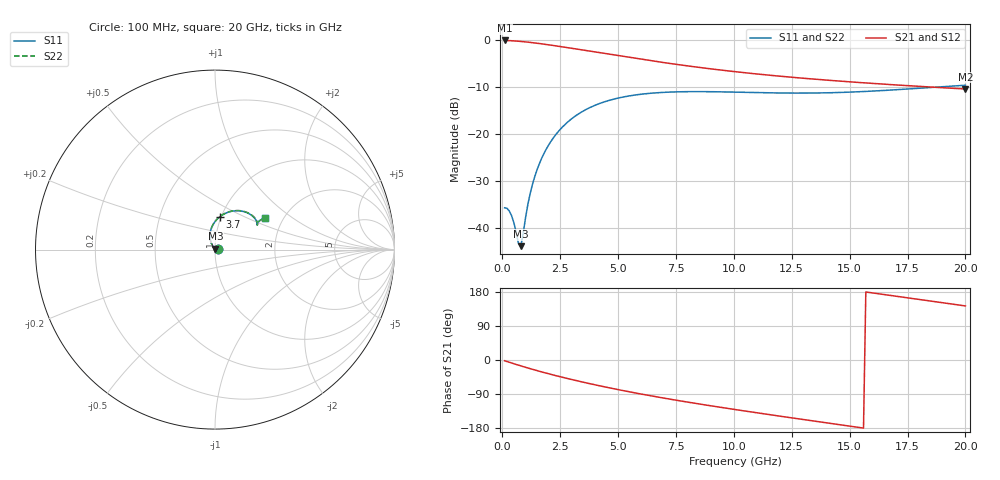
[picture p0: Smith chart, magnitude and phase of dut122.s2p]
! Touchstone file exported from HFSS 2024.1.0
!  File:  C:/UserFiles/LocalFiles/RDL_TSV_Batchsim/temp_RDL_TSV_122_1779425137.aedt
!  Generated:  01:00:07 PM May 22, 2026
!  Design:  RDL_TSV
!  Project:  temp_RDL_TSV_122_1779425137
!  Setup:  Setup1
!  Solution:  Sweep
! Variables:
!  dtsv = 10.31um
!  hbump = 3um
!  htsv = 87.14um
!  ldown = 378.98um
!  lrdl = 456.69um
!  p = 40
!  p1 = 56.4um
!  rhole = 10um
!  subl = 2963.7um
!  t = 450um
!  tdown = 2.44um
!  trdl = 3.48um
!  viad = 10um
!  wdown = 19.25um
!  wrdl = 25.24um
!  xbump = 18um
# GHz S MA R 50.000000
! Terminal data exported
! Port[1] = TM1_1_T1
! Port[2] = TM1_4_T1
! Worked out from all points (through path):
!   200 points, 100 MHz to 20 GHz, reference 50 ohm
!   highest |S21| = -0.15 dB at 100 MHz (marker M1); lowest = -10.5 dB at 20 GHz (marker M2)
!   group delay of S21, straight-line fit = 28.3 ps
!   lowest |S11| = -43.8 dB at 800 MHz (marker M3), VSWR 1.01, Z = 50.2 + j0.604 ohm
!   |S11| at or under -10 dB: start of sweep to 18.9 GHz
!   |S22| runs from -43.8 to -9.6 dB; largest |S21 - S12| = 1.1e-14
!   S11 on the Smith chart (normalised r, x): 100 MHz: 1.03, +0.00; 3.7 GHz: 0.99, +0.38; 20 GHz: 1.62, +0.64
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0.1  0.0165 2.1  0.9829 -2.0  0.9829 -2.0  0.0165 2.1
! Gamma 0 0 0 0
! Port Impedance 50 0 50 0
0.3  0.01528 2.5  0.9789 -6.0  0.9789 -6.0  0.01527 2.5
0.4  0.01362 3.6  0.976 -7.9  0.976 -7.9  0.0136 3.7
0.5  0.01144 7.2  0.9727 -9.9  0.9727 -9.9  0.01141 7.2
0.7  0.006881 35.1  0.9647 -13.7  0.9647 -13.7  0.006852 35.5
0.8  0.006453 68.8  0.96 -15.5  0.96 -15.5  0.006461 69.4
1.1  0.01765 117.6  0.9439 -21.0  0.9439 -21.0  0.01778 117.8
1.2  0.02313 120.1  0.9379 -22.8  0.9379 -22.8  0.02328 120.3
1.4  0.03521 120.5  0.9252 -26.3  0.9252 -26.3  0.03542 120.7
1.7  0.05517 116.8  0.9049 -31.4  0.9049 -31.4  0.05547 116.9
2.1  0.08343 109.7  0.8766 -37.9  0.8766 -37.9  0.08385 109.7
2.5  0.1118 102.0  0.8477 -44.1  0.8477 -44.1  0.1124 102.1
3  0.1454 92.8  0.8119 -51.6  0.8119 -51.6  0.1461 92.9
3.5  0.1755 84.4  0.7767 -58.6  0.7767 -58.6  0.1764 84.4
3.7  0.1864 81.2  0.763 -61.4  0.763 -61.4  0.1873 81.3
5  0.2404 63.7  0.6788 -78.1  0.6788 -78.1  0.2417 63.8
6.8  0.275 47.0  0.5807 -98.7  0.5807 -98.7  0.2766 47.0
8.4  0.2817 37.7  0.5126 -115.0  0.5126 -115.0  0.2835 37.7
10.1  0.278 32.3  0.457 -131.1  0.457 -131.1  0.2797 32.2
13.4  0.272 30.6  0.3832 -160.6  0.3832 -160.6  0.2736 30.5
16.7  0.2917 32.9  0.3352 170.9  0.3352 170.9  0.293 32.7
20  0.3291 32.1  0.3002 142.7  0.3002 142.7  0.3302 32.0
